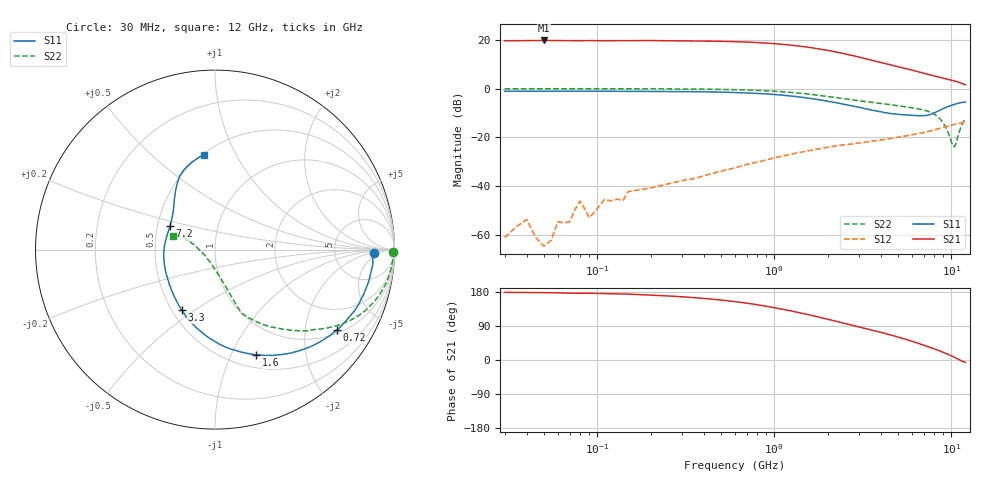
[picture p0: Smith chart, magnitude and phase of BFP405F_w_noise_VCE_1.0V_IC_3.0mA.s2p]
! Infineon Technologies  Discrete & RF Semiconductors
! BFP405F
! VCE =  1.0 V,  IC =  3.0 mA
! Common Emitter S-Parameters:  Nov 2015
# GHz  S  MA  R  50
!  f  S11  S21  S12  S22
! GHz  MAG  ANG  MAG  ANG  MAG  ANG  MAG  ANG
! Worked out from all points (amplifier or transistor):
!   239 points, 30 MHz to 12 GHz, reference 50 ohm
!   highest |S21| = 19.7 dB at 50 MHz (marker M1)
!   |S21| within 3 dB of that: start of sweep to 1.632 GHz
!   unconditionally stable (mu >= 1): 49.48 MHz to 50.59 MHz; 3.39 GHz to end of sweep
!   at 300 MHz: K = 0.05, MSG = 28.6 dB, |S12| = -37.7 dB
!   at 1.88 GHz: K = 0.53, MSG = 20.1 dB, |S12| = -24.3 dB
!   at 12 GHz: K = 1.56, MAG = 3.3 dB, |S12| = -13.8 dB
!   lowest NFmin = 1.11 dB at 450 MHz
!   S11 on the Smith chart (normalised r, x): 30 MHz: 16, -3; 720 MHz: 1.11, -2.94; 1.6 GHz: 0.64, -1.25; 3.3 GHz: 0.56, -0.45; 7.2 GHz: 0.58, +0.16; 12 GHz: 0.51, +0.75
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0.03  0.8841 -1.4  9.511 178.5  0.0009 69.8  0.9915 -0.8
0.04  0.8806 -1.8  9.539 178.4  0.0021 94.1  0.9931 -1.0
0.05  0.8794 -2.8  9.638 177.6  0.0006 -37.0  0.9899 -1.3
0.08  0.8826 -4.1  9.516 176.0  0.005 87.5  0.9935 -2.1
0.085  0.8832 -4.2  9.55 176.1  0.0035 98.9  0.9941 -2.3
0.09  0.8839 -4.3  9.584 176.1  0.0023 124.3  0.9948 -2.5
0.15  0.8796 -7.1  9.593 173.9  0.0079 86.6  0.9911 -3.9
0.24  0.8748 -11.5  9.536 169.5  0.0108 85.4  0.9863 -6.2
0.4  0.86 -19.0  9.397 162.5  0.0165 80.1  0.9755 -10.4
0.6  0.8324 -28.2  9.101 153.9  0.0239 78.7  0.9505 -15.3
0.72  0.8134 -33.5  8.906 149.1  0.0288 73.5  0.9325 -18.2
0.92  0.775 -42.1  8.495 141.1  0.0356 70.0  0.898 -22.7
1.2  0.7151 -53.7  7.845 131.0  0.0445 65.5  0.8433 -28.2
1.6  0.6292 -68.7  6.901 118.4  0.0544 58.9  0.7652 -34.8
1.64  0.6212 -70.0  6.805 117.3  0.0554 58.5  0.7566 -35.4
2.38  0.4917 -94.1  5.343 99.0  0.0697 50.7  0.6343 -45.3
3.3  0.3858 -118.7  4.082 82.6  0.0807 45.3  0.5401 -53.2
4.5  0.3115 -147.4  3.089 66.6  0.0947 41.8  0.4704 -59.4
7.2  0.282 152.7  2.001 37.0  0.1295 35.9  0.3531 -68.2
8.8  0.3766 126.3  1.669 22.1  0.1569 31.0  0.2191 -73.6
10.4  0.4759 111.5  1.437 7.3  0.1853 23.6  0.0643 -147.1
12  0.5306 96.4  1.196 -6.4  0.2034 16.3  0.2473 161.7
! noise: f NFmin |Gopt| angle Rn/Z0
0.45  1.11  0.5  6  0.37
0.9  1.12  0.47  14  0.41
1.5  1.21  0.44  20  0.35
1.9  1.25  0.42  27  0.35
2.4  1.43  0.39  37  0.36
3  1.5  0.37  47  0.33
3.5  1.54  0.36  57  0.31
4.5  1.72  0.3  73  0.26
5.5  1.97  0.19  88  0.16
